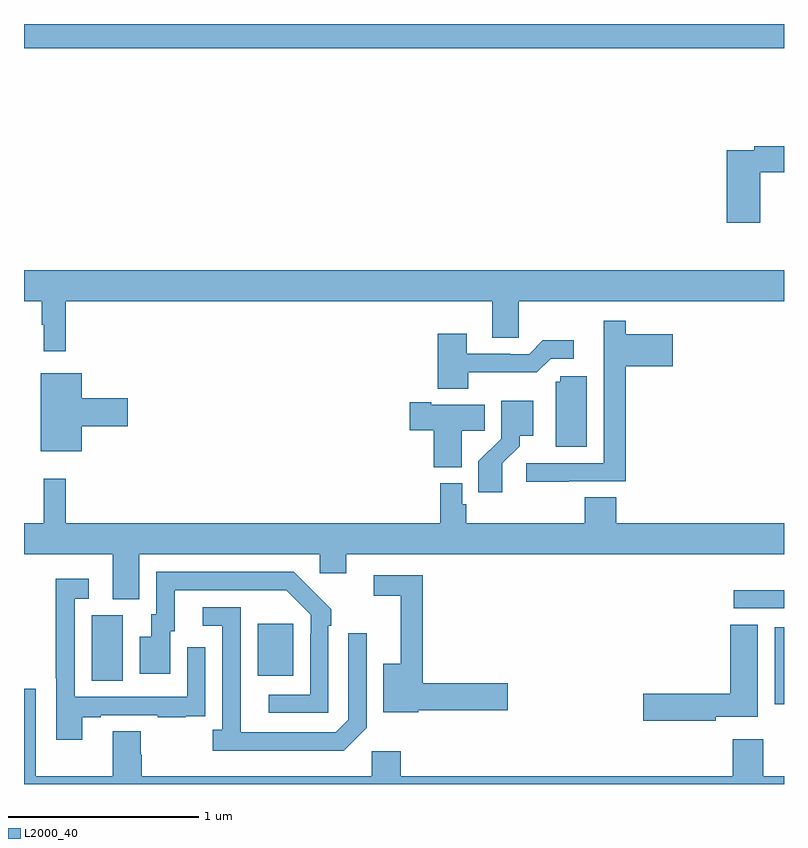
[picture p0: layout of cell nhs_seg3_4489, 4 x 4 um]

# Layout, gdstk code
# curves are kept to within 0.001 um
import gdstk
lib = gdstk.Library(unit=1e-6, precision=1e-09)
def R(c, l, rs):  # rectangles x0, y0, x1, y1
    for r in rs: c.add(gdstk.rectangle(r[:2], r[2:], *l))
def P(c, l, *ps):  # polygons
    for p in ps: c.add(gdstk.Polygon(p, *l))
L2000_40 = (2000, 40)

nhs_seg3_4489 = lib.new_cell('nhs_seg3_4489')
R(nhs_seg3_4489, L2000_40, [(354.95,674.819,355,675.226), (351.356,674.944,351.52,675.288), (352.229,674.969,352.417,675.244), (354.735,675.324,355,675.42), (351,678.272,355,678.4)])
P(nhs_seg3_4489, L2000_40, [(354.876,677.62),(355,677.62),(355,677.756),(354.844,677.756),(354.844,677.736),(354.698,677.736),(354.698,677.355),(354.876,677.355)],
  [(351.221,676.94),(353.465,676.94),(353.465,676.75),(353.604,676.75),(353.604,676.94),(355,676.94),(355,677.104),(351,677.104),(351,676.94),(351.093,676.94),(351.093,676.817),(351.104,676.817),(351.104,676.677),(351.221,676.677)],
  [(353.867,675.993),(354.167,675.993),(354.167,676.598),(354.415,676.598),(354.415,676.768),(354.167,676.768),(354.167,676.837),(354.05,676.837),(354.05,676.614),(354.051,676.614),(354.051,676.089),(353.643,676.089),(353.643,675.991),(353.867,675.991)],
  [(353.337,676.566),(353.699,676.566),(353.772,676.638),(353.893,676.638),(353.893,676.735),(353.731,676.735),(353.658,676.662),(353.558,676.662),(353.558,676.665),(353.329,676.665),(353.329,676.771),(353.177,676.771),(353.177,676.481),(353.337,676.481)],
  [(351.304,676.283),(351.547,676.283),(351.547,676.43),(351.304,676.43),(351.304,676.561),(351.089,676.561),(351.089,676.151),(351.304,676.151)],
  [(353.962,676.545),(353.823,676.545),(353.823,676.518),(353.798,676.518),(353.798,676.174),(353.962,676.174)],
  [(353.518,676.087),(353.608,676.177),(353.608,676.232),(353.68,676.232),(353.68,676.417),(353.513,676.417),(353.513,676.368),(353.511,676.368),(353.511,676.217),(353.392,676.098),(353.392,675.936),(353.518,675.936)],
  [(353.305,676.258),(353.426,676.258),(353.426,676.396),(353.143,676.396),(353.143,676.408),(353.031,676.408),(353.031,676.262),(353.156,676.262),(353.156,676.067),(353.305,676.067)],
  [(351.607,675.608),(352.557,675.608),(352.557,675.51),(352.696,675.51),(352.696,675.608),(355,675.608),(355,675.772),(354.116,675.772),(354.116,675.908),(353.951,675.908),(353.951,675.772),(353.327,675.772),(353.327,675.873),(353.307,675.873),(353.307,675.982),(353.191,675.982),(353.191,675.772),(351.221,675.772),(351.221,676.006),(351.104,676.006),(351.104,675.772),(351,675.772),(351,675.608),(351.467,675.608),(351.467,675.373),(351.607,675.373)],
  [(352.602,675.233),(352.617,675.233),(352.617,675.321),(352.42,675.516),(351.696,675.516),(351.696,675.294),(351.671,675.294),(351.671,675.175),(351.608,675.175),(351.608,674.979),(351.769,674.979),(351.769,675.204),(351.793,675.204),(351.793,675.42),(352.381,675.42),(352.509,675.291),(352.509,675.191),(352.506,675.191),(352.506,674.871),(352.287,674.871),(352.287,674.775),(352.602,674.775)],
  [(353.076,674.788),(353.545,674.788),(353.545,674.93),(353.099,674.93),(353.099,675.498),(352.842,675.498),(352.842,675.39),(352.982,675.39),(352.982,675.034),(352.892,675.034),(352.892,674.777),(353.076,674.777)],
  [(351.307,674.751),(351.403,674.751),(351.403,674.763),(351.703,674.763),(351.703,674.751),(351.851,674.751),(351.851,674.757),(351.953,674.757),(351.953,674.866),(351.954,674.866),(351.954,675.121),(351.858,675.121),(351.858,674.859),(351.267,674.859),(351.267,675.375),(351.34,675.375),(351.34,675.481),(351.166,675.481),(351.166,674.956),(351.171,674.956),(351.171,674.634),(351.307,674.634)],
  [(352.803,674.697),(352.803,675.193),(352.707,675.193),(352.707,674.739),(352.641,674.673),(352.141,674.673),(352.14,675.33),(351.942,675.33),(351.942,675.234),(352.044,675.234),(352.044,674.686),(351.993,674.686),(351.993,674.576),(352.682,674.576)],
  [(354.642,674.753),(354.862,674.753),(354.862,675.239),(354.716,675.239),(354.716,674.876),(354.258,674.876),(354.258,674.734),(354.642,674.734)],
  [(355,674.44),(354.891,674.44),(354.891,674.635),(354.731,674.635),(354.731,674.44),(352.982,674.44),(352.982,674.572),(352.83,674.572),(352.83,674.44),(351.62,674.44),(351.62,674.553),(351.615,674.553),(351.615,674.678),(351.467,674.678),(351.467,674.44),(351.061,674.44),(351.061,674.902),(351,674.902),(351,674.4),(355,674.4)])

lib.write_gds('nhs_seg3_4489.gds')
